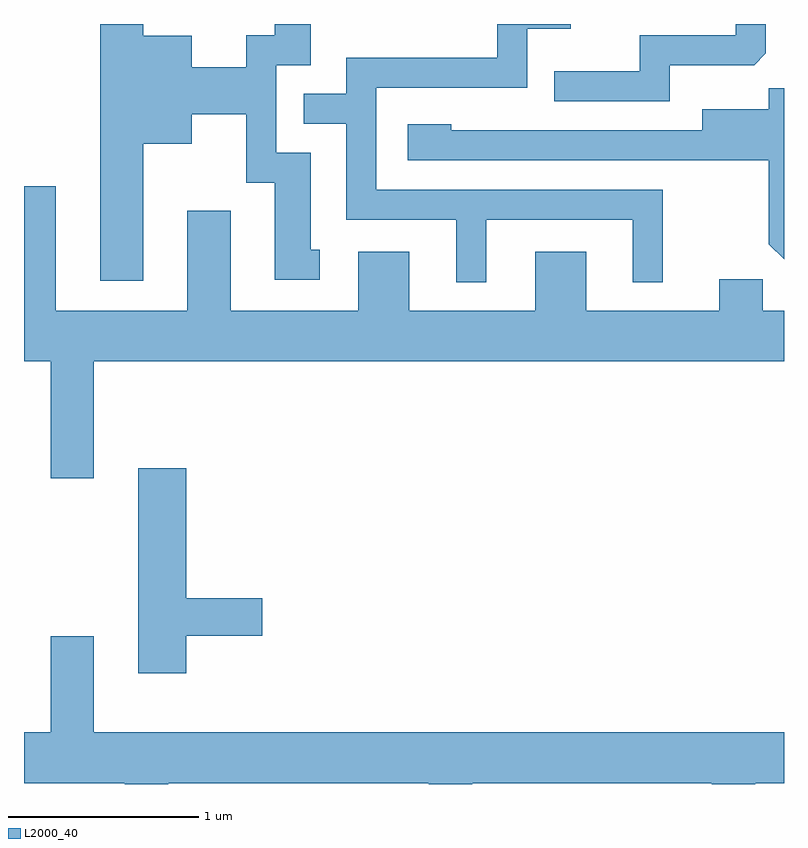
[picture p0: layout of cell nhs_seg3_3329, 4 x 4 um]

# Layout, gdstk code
import gdstk
lib = gdstk.Library(unit=1e-6, precision=1e-09)
def P(c, l, *ps):  # polygons
    for p in ps: c.add(gdstk.Polygon(p, *l))
L2000_40 = (2000, 40)

nhs_seg3_3329 = lib.new_cell('nhs_seg3_3329')
P(nhs_seg3_3329, L2000_40, [(284.044,1248.861),(284.816,1248.861),(284.816,1248.533),(284.974,1248.533),(284.974,1249.019),(283.464,1249.019),(283.464,1249.556),(284.259,1249.556),(284.259,1249.866),(284.488,1249.866),(284.488,1249.892),(284.101,1249.892),(284.101,1249.714),(283.306,1249.714),(283.306,1249.524),(283.083,1249.524),(283.083,1249.366),(283.306,1249.366),(283.306,1248.861),(283.886,1248.861),(283.886,1248.533),(284.044,1248.533)],
  [(285.009,1249.676),(285.454,1249.676),(285.514,1249.737),(285.514,1249.892),(285.356,1249.892),(285.356,1249.834),(284.851,1249.834),(284.851,1249.644),(284.403,1249.644),(284.403,1249.486),(285.009,1249.486)],
  [(282.239,1249.261),(282.494,1249.261),(282.494,1249.416),(282.781,1249.416),(282.781,1249.056),(282.931,1249.056),(282.931,1248.546),(283.168,1248.546),(283.168,1248.704),(283.119,1248.704),(283.119,1249.214),(282.939,1249.214),(282.939,1249.676),(283.119,1249.676),(283.119,1249.892),(282.931,1249.892),(282.931,1249.834),(282.781,1249.834),(282.781,1249.664),(282.494,1249.664),(282.494,1249.829),(282.239,1249.829),(282.239,1249.892),(282.011,1249.892),(282.011,1248.541),(282.239,1248.541)],
  [(285.611,1249.554),(285.531,1249.554),(285.531,1249.444),(285.181,1249.444),(285.181,1249.334),(283.859,1249.334),(283.859,1249.364),(283.631,1249.364),(283.631,1249.176),(285.531,1249.176),(285.531,1248.734),(285.611,1248.654)],
  [(281.979,1248.116),(285.611,1248.116),(285.611,1248.384),(285.499,1248.384),(285.499,1248.549),(285.271,1248.549),(285.271,1248.384),(284.569,1248.384),(284.569,1248.694),(284.301,1248.694),(284.301,1248.384),(283.639,1248.384),(283.639,1248.694),(283.371,1248.694),(283.371,1248.384),(282.699,1248.384),(282.699,1248.909),(282.471,1248.909),(282.471,1248.384),(281.779,1248.384),(281.779,1249.039),(281.611,1249.039),(281.611,1248.116),(281.751,1248.116),(281.751,1247.501),(281.979,1247.501)],
  [(282.464,1246.671),(282.864,1246.671),(282.864,1246.869),(282.464,1246.869),(282.464,1247.554),(282.211,1247.554),(282.211,1246.476),(282.464,1246.476)],
  [(282.369,1245.896),(283.741,1245.896),(283.741,1245.892),(283.969,1245.892),(283.969,1245.896),(285.231,1245.896),(285.231,1245.892),(285.459,1245.892),(285.459,1245.896),(285.611,1245.896),(285.611,1246.164),(281.979,1246.164),(281.979,1246.669),(281.751,1246.669),(281.751,1246.164),(281.611,1246.164),(281.611,1245.896),(282.141,1245.896),(282.141,1245.892),(282.369,1245.892)])

lib.write_gds('nhs_seg3_3329.gds')
